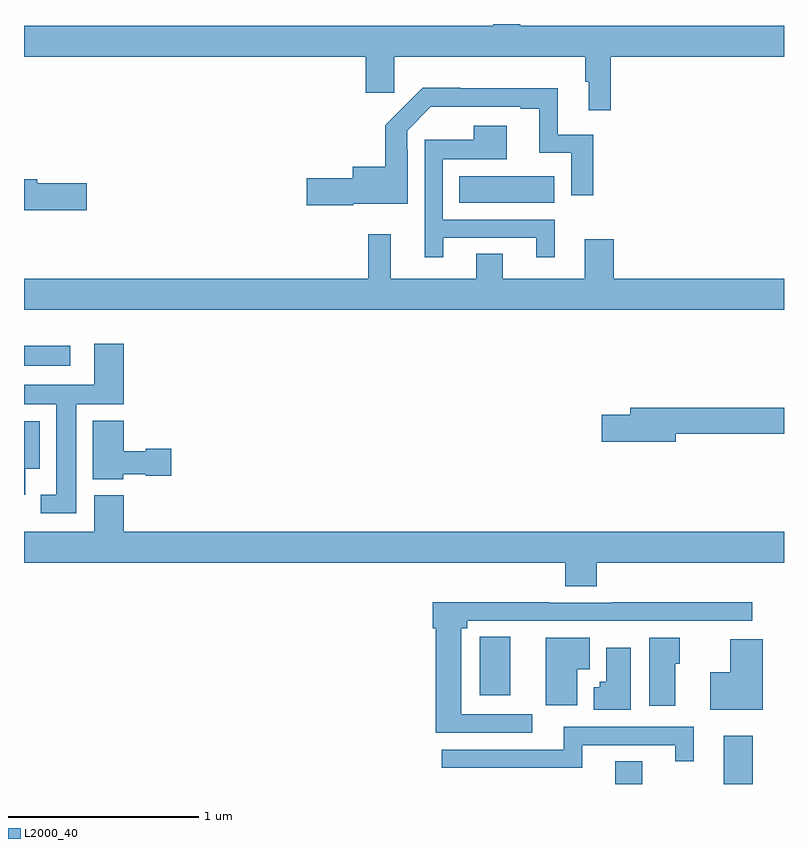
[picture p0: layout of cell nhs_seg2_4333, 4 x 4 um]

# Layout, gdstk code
import gdstk
lib = gdstk.Library(unit=1e-6, precision=1e-09)
def R(c, l, rs):  # rectangles x0, y0, x1, y1
    for r in rs: c.add(gdstk.rectangle(r[:2], r[2:], *l))
def P(c, l, *ps):  # polygons
    for p in ps: c.add(gdstk.Polygon(p, *l))
L2000_40 = (2000, 40)

nhs_seg2_4333 = lib.new_cell('nhs_seg2_4333')
R(nhs_seg2_4333, L2000_40, [(348.113,651.8,348.253,651.92), (348.683,651.8,348.836,652.054), (347.399,652.266,347.56,652.574), (345,654.002,345.244,654.106), (347.29,654.86,347.791,655)])
P(nhs_seg2_4333, L2000_40, [(345,655.628),(346.799,655.628),(346.799,655.437),(346.949,655.437),(346.949,655.628),(347.953,655.628),(347.953,655.496),(347.972,655.496),(347.972,655.347),(348.089,655.347),(348.089,655.628),(349,655.628),(349,655.792),(347.611,655.792),(347.611,655.8),(347.471,655.8),(347.471,655.792),(345,655.792)],
  [(346.734,654.854),(347.019,654.854),(347.019,655.139),(347.016,655.139),(347.016,655.239),(347.142,655.365),(347.615,655.365),(347.615,655.353),(347.711,655.353),(347.711,655.122),(347.88,655.122),(347.88,654.9),(347.996,654.9),(347.996,655.218),(347.809,655.218),(347.809,655.462),(347.297,655.462),(347.297,655.465),(347.098,655.465),(346.901,655.267),(346.901,655.048),(346.73,655.048),(346.73,654.989),(346.488,654.989),(346.488,654.847),(346.734,654.847)],
  [(347.206,654.675),(347.696,654.675),(347.696,654.573),(347.794,654.573),(347.794,654.771),(347.205,654.771),(347.205,655.088),(347.542,655.088),(347.542,655.264),(347.366,655.264),(347.366,655.192),(347.109,655.192),(347.109,654.573),(347.206,654.573)],
  [(345.331,654.962),(345.07,654.962),(345.07,654.983),(345,654.983),(345,654.82),(345.331,654.82)],
  [(349,654.46),(348.104,654.46),(348.104,654.667),(347.951,654.667),(347.951,654.46),(347.521,654.46),(347.521,654.59),(347.381,654.59),(347.381,654.46),(346.931,654.46),(346.931,654.694),(346.813,654.694),(346.813,654.46),(345,654.46),(345,654.296),(349,654.296)],
  [(345.274,653.798),(345.524,653.798),(345.524,654.118),(345.371,654.118),(345.371,653.902),(345,653.902),(345,653.798),(345.17,653.798),(345.17,653.322),(345.088,653.322),(345.088,653.226),(345.274,653.226)],
  [(348.43,653.644),(349,653.644),(349,653.78),(348.191,653.78),(348.191,653.744),(348.042,653.744),(348.042,653.602),(348.43,653.602)],
  [(345.522,653.429),(345.642,653.429),(345.642,653.422),(345.775,653.422),(345.775,653.564),(345.642,653.564),(345.642,653.551),(345.526,653.551),(345.526,653.713),(345.362,653.713),(345.362,653.405),(345.522,653.405)],
  [(345.007,653.459),(345.082,653.459),(345.082,653.71),(345,653.71),(345,653.322),(345.007,653.322)],
  [(348.014,652.964),(349,652.964),(349,653.128),(345.524,653.128),(345.524,653.32),(345.371,653.32),(345.371,653.128),(345,653.128),(345,652.964),(347.849,652.964),(347.849,652.84),(348.014,652.84)],
  [(347.674,652.167),(347.302,652.167),(347.302,652.62),(347.332,652.62),(347.332,652.659),(348.832,652.659),(348.832,652.757),(348.097,652.757),(348.097,652.755),(347.765,652.755),(347.765,652.757),(347.15,652.757),(347.15,652.62),(347.168,652.62),(347.168,652.071),(347.674,652.071)],
  [(347.911,652.405),(347.977,652.405),(347.977,652.57),(347.747,652.57),(347.747,652.215),(347.911,652.215)],
  [(348.427,652.434),(348.451,652.434),(348.451,652.57),(348.29,652.57),(348.29,652.212),(348.427,652.212)],
  [(348.887,652.561),(348.716,652.561),(348.716,652.387),(348.611,652.387),(348.611,652.19),(348.887,652.19)],
  [(348.193,652.516),(348.065,652.516),(348.065,652.338),(348.03,652.338),(348.03,652.31),(347.999,652.31),(347.999,652.19),(348.193,652.19)],
  [(347.938,652.005),(348.428,652.005),(348.428,651.921),(348.526,651.921),(348.526,652.101),(347.84,652.101),(347.84,651.981),(347.199,651.981),(347.199,651.885),(347.938,651.885)])

lib.write_gds('nhs_seg2_4333.gds')
